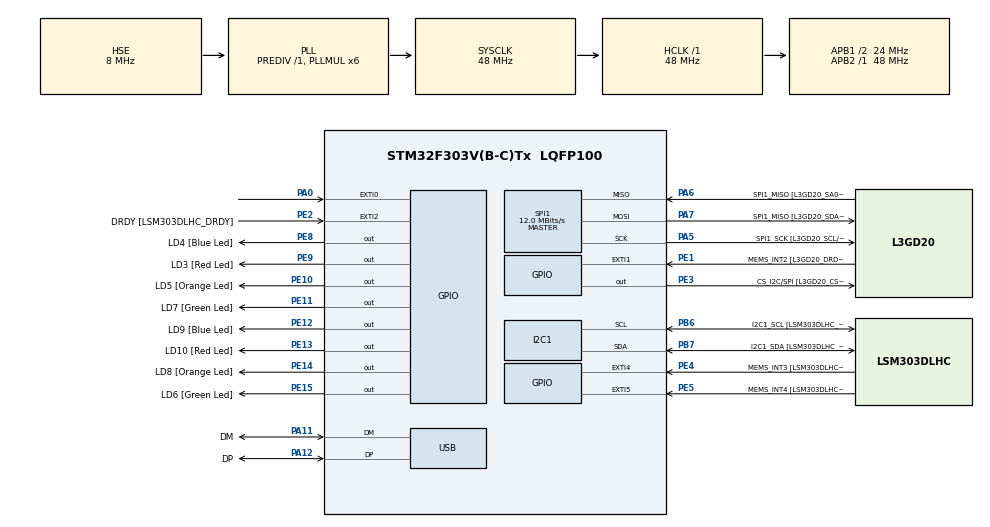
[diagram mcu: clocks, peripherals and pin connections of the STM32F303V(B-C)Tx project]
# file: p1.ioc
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I2C1.Timing=0x2000090E
I2C1.Timing-I2C=0x2000090E
Mcu.Family=STM32F3
Mcu.Name=STM32F303V(B-C)Tx
Mcu.Package=LQFP100
NVIC.EXTI0_IRQn=true\:0\:0\:false\:false\:true\:true\:true
NVIC.PriorityGroup=NVIC_PRIORITYGROUP_0
PA0.GPIO_PuPd=GPIO_PULLDOWN
PA0.Signal=GPXTI0
PA11.GPIO_Label=DM
PA11.Mode=Device
PA11.Signal=USB_DM
PA12.GPIO_Label=DP
PA12.Mode=Device
PA12.Signal=USB_DP
PA13.GPIO_Label=SWDIO
PA13.Mode=Serial_Wire
PA13.Signal=SYS_JTMS-SWDIO
PA14.GPIO_Label=SWCLK
PA14.Mode=Serial_Wire
PA14.Signal=SYS_JTCK-SWCLK
PA5.GPIO_Label=SPI1_SCK [L3GD20_SCL/SPC]
PA5.Mode=Full_Duplex_Master
PA5.Signal=SPI1_SCK
PA6.GPIO_Label=SPI1_MISO [L3GD20_SA0/SDO]
PA6.Mode=Full_Duplex_Master
PA6.Signal=SPI1_MISO
PA7.GPIO_Label=SPI1_MISO [L3GD20_SDA/SDI/SDO]
PA7.Mode=Full_Duplex_Master
PA7.Signal=SPI1_MOSI
PB3.GPIO_Label=SWO
PB3.Signal=SYS_JTDO-TRACESWO
PB6.GPIO_Label=I2C1_SCL [LSM303DLHC_SCL]
PB6.GPIO_Pu=GPIO_PULLUP
PB6.Mode=I2C
PB6.Signal=I2C1_SCL
PB7.GPIO_Label=I2C1_SDA [LSM303DLHC_SDA]
PB7.GPIO_Pu=GPIO_PULLUP
PB7.Mode=I2C
PB7.Signal=I2C1_SDA
PC14-OSC32_IN.GPIO_Label=OSC32_IN
PC14-OSC32_IN.Signal=RCC_OSC32_IN
PC15-OSC32_OUT.GPIO_Label=OSC32_OUT
PC15-OSC32_OUT.Signal=RCC_OSC32_OUT
PE1.GPIO_Label=MEMS_INT2 [L3GD20_DRDY/INT2]
PE1.GPIO_ModeDefaultEXTI=GPIO_MODE_EVT_RISING
PE1.Signal=GPXTI1
PE10.GPIO_Label=LD5 [Orange Led]
PE10.Signal=GPIO_Output
PE11.GPIO_Label=LD7 [Green Led]
PE11.Signal=GPIO_Output
PE12.GPIO_Label=LD9 [Blue Led]
PE12.Signal=GPIO_Output
PE13.GPIO_Label=LD10 [Red Led]
PE13.Signal=GPIO_Output
PE14.GPIO_Label=LD8 [Orange Led]
PE14.Signal=GPIO_Output
PE15.GPIO_Label=LD6 [Green Led]
PE15.Signal=GPIO_Output
PE2.GPIO_Label=DRDY [LSM303DLHC_DRDY]
PE2.GPIO_ModeDefaultEXTI=GPIO_MODE_EVT_RISING
PE2.Signal=GPXTI2
PE3.GPIO_Label=CS_I2C/SPI [L3GD20_CS_I2C/SPI]
PE3.Signal=GPIO_Output
PE4.GPIO_Label=MEMS_INT3 [LSM303DLHC_INT1]
PE4.GPIO_ModeDefaultEXTI=GPIO_MODE_EVT_RISING
PE4.Signal=GPXTI4
PE5.GPIO_Label=MEMS_INT4 [LSM303DLHC_INT2]
PE5.GPIO_ModeDefaultEXTI=GPIO_MODE_EVT_RISING
PE5.Signal=GPXTI5
PE8.GPIO_Label=LD4 [Blue Led]
PE8.Signal=GPIO_Output
PE9.GPIO_Label=LD3 [Red Led]
PE9.Signal=GPIO_Output
PF0-OSC_IN.GPIO_Label=OSC_IN
PF0-OSC_IN.Mode=HSE-External-Clock-Source
PF0-OSC_IN.Signal=RCC_OSC_IN
PF1-OSC_OUT.GPIO_Label=OSC_OUT
PF1-OSC_OUT.Signal=RCC_OSC_OUT
ProjectManager.HeapSize=0x200
ProjectManager.StackSize=0x400
ProjectManager.TargetToolchain=STM32CubeIDE
RCC.AHBFreq_Value=48000000
RCC.APB1CLKDivider=RCC_HCLK_DIV2
RCC.APB1Freq_Value=24000000
RCC.APB1TimFreq_Value=48000000
RCC.APB2Freq_Value=48000000
RCC.APB2TimFreq_Value=48000000
RCC.CortexFreq_Value=48000000
RCC.HCLKFreq_Value=48000000
RCC.HSE_VALUE=8000000
RCC.HSI_VALUE=8000000
RCC.LSE_VALUE=32768
RCC.PLLMUL=RCC_PLL_MUL6
RCC.SYSCLKFreq_VALUE=48000000
RCC.SYSCLKSourceVirtual=RCC_SYSCLKSOURCE_PLLCLK
RCC.USBFreq_Value=48000000
SPI1.BaudRatePrescaler=SPI_BAUDRATEPRESCALER_4
SPI1.BaudRatePrescaler-Full_Duplex_Master=SPI_BAUDRATEPRESCALER_2
SPI1.CalculateBaudRate=12.0 MBits/s
SPI1.CalculateBaudRate-Full_Duplex_Master=24.0 MBits/s
SPI1.Direction=SPI_DIRECTION_2LINES
SPI1.Mode=SPI_MODE_MASTER
SPI1.Mode-Full_Duplex_Master=SPI_MODE_MASTER
SPI1.VirtualType=VM_MASTER
board=STM32F3DISCOVERY

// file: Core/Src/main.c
/* USER CODE BEGIN Header */
/**
  ******************************************************************************
  * @file           : main.c
  * @brief          : Main program body
  ******************************************************************************
  * @attention
  *
  * <h2><center>&copy; Copyright (c) 2022 STMicroelectronics.
  * All rights reserved.</center></h2>
  *
  * This software component is licensed by ST under BSD 3-Clause license,
  * the "License"; You may not use this file except in compliance with the
  * License. You may obtain a copy of the License at:
  *                        opensource.org/licenses/BSD-3-Clause
  *
  ******************************************************************************
  */
/* USER CODE END Header */
#include "main.h"

I2C_HandleTypeDef hi2c1;

SPI_HandleTypeDef hspi1;

PCD_HandleTypeDef hpcd_USB_FS;

void SystemClock_Config(void);
static void MX_GPIO_Init(void);
static void MX_I2C1_Init(void);
static void MX_SPI1_Init(void);
static void MX_USB_PCD_Init(void);

/* USER CODE BEGIN 0 */

void initForBlueButton() {

	__HAL_RCC_GPIOA_CLK_ENABLE();
	GPIO_InitTypeDef temp1;
	temp1.Pin = GPIO_PIN_0;
	temp1.Mode = GPIO_MODE_INPUT;
	temp1.Speed = GPIO_SPEED_FREQ_HIGH;
	temp1.Pull = GPIO_PULLDOWN;
	HAL_GPIO_Init(GPIOA, &temp1);
}

void initForSevenSeg() {

	__HAL_RCC_GPIOC_CLK_ENABLE();
	GPIO_InitTypeDef temp;
	temp.Pin = GPIO_PIN_0 | GPIO_PIN_1 | GPIO_PIN_2 | GPIO_PIN_3 | GPIO_PIN_4 | GPIO_PIN_5 | GPIO_PIN_6 | GPIO_PIN_7 | GPIO_PIN_8 ;
	temp.Mode = GPIO_MODE_OUTPUT_PP;
	temp.Speed = GPIO_SPEED_FREQ_HIGH;
	HAL_GPIO_Init(GPIOC, &temp);
}

void numberToBCD0(int number)
{
	int x1 = number&1;
	int x2 = number&2;
	int x3 = number&4;
	int x4 = number&8;

	if (x1 > 0) x1 = 1;
	if (x2 > 0) x2 = 1;
	if (x3 > 0) x3 = 1;
	if (x4 > 0) x4 = 1;

	HAL_GPIO_WritePin(GPIOC, GPIO_PIN_0, x1);
	HAL_GPIO_WritePin(GPIOC, GPIO_PIN_1, x2);
	HAL_GPIO_WritePin(GPIOC, GPIO_PIN_2, x3);
	HAL_GPIO_WritePin(GPIOC, GPIO_PIN_3, x4);

}

void result0(int num) {

	HAL_GPIO_WritePin(GPIOC, GPIO_PIN_4 | GPIO_PIN_6 | GPIO_PIN_7 | GPIO_PIN_8, 1);
	HAL_GPIO_WritePin(GPIOC, GPIO_PIN_5, 0);
	numberToBCD0( (num / 100) % 10 );
	HAL_Delay(3);

	HAL_GPIO_WritePin(GPIOC, GPIO_PIN_5 | GPIO_PIN_6 | GPIO_PIN_7, 1);
	HAL_GPIO_WritePin(GPIOC, GPIO_PIN_4 | GPIO_PIN_8, 0);
	numberToBCD0( (num / 1000) % 10 );
	HAL_Delay(3);

	HAL_GPIO_WritePin(GPIOC, GPIO_PIN_4 | GPIO_PIN_5 | GPIO_PIN_6, 1);
	HAL_GPIO_WritePin(GPIOC, GPIO_PIN_7 | GPIO_PIN_8, 0);
	numberToBCD0( (num / 1) % 10 );
	HAL_Delay(3);

	HAL_GPIO_WritePin(GPIOC, GPIO_PIN_4 | GPIO_PIN_5 | GPIO_PIN_7, 1);
	HAL_GPIO_WritePin(GPIOC, GPIO_PIN_6 | GPIO_PIN_8, 0);
	numberToBCD0( (num / 10) % 10 );
	HAL_Delay(3);

}

int num = 0;
void sum(){
	num = num - ( ((num/100)%10) + ((num/1000)%10) );

	num = num + 10100 ;

	num = ( ((num/100)%10) + ((num/1000)%10) ) + num;
}

/* USER CODE END 0 */

int main(void)
{

  /* MCU Configuration--------------------------------------------------------*/

  /* Reset of all peripherals, Initializes the Flash interface and the Systick. */
  HAL_Init();

  /* Configure the system clock */
  SystemClock_Config();

  /* Initialize all configured peripherals */
  MX_GPIO_Init();
  MX_I2C1_Init();
  MX_SPI1_Init();
  MX_USB_PCD_Init();
  /* USER CODE BEGIN 2 */

  HAL_Init();
  initForBlueButton();
  initForSevenSeg();

  /* USER CODE END 2 */

  /* Infinite loop */
  while (1)
  {

	result0(num);

  }
}

void SystemClock_Config(void)
{
  RCC_OscInitTypeDef RCC_OscInitStruct = {0};
  RCC_ClkInitTypeDef RCC_ClkInitStruct = {0};
  RCC_PeriphCLKInitTypeDef PeriphClkInit = {0};

  /** Initializes the RCC Oscillators according to the specified parameters
  * in the RCC_OscInitTypeDef structure.
  */
  RCC_OscInitStruct.OscillatorType = RCC_OSCILLATORTYPE_HSI|RCC_OSCILLATORTYPE_HSE;
  RCC_OscInitStruct.HSEState = RCC_HSE_BYPASS;
  RCC_OscInitStruct.HSEPredivValue = RCC_HSE_PREDIV_DIV1;
  RCC_OscInitStruct.HSIState = RCC_HSI_ON;
  RCC_OscInitStruct.HSICalibrationValue = RCC_HSICALIBRATION_DEFAULT;
  RCC_OscInitStruct.PLL.PLLState = RCC_PLL_ON;
  RCC_OscInitStruct.PLL.PLLSource = RCC_PLLSOURCE_HSE;
  RCC_OscInitStruct.PLL.PLLMUL = RCC_PLL_MUL6;
  if (HAL_RCC_OscConfig(&RCC_OscInitStruct) != HAL_OK)
  {
    Error_Handler();
  }
  /** Initializes the CPU, AHB and APB buses clocks
  */
  RCC_ClkInitStruct.ClockType = RCC_CLOCKTYPE_HCLK|RCC_CLOCKTYPE_SYSCLK
                              |RCC_CLOCKTYPE_PCLK1|RCC_CLOCKTYPE_PCLK2;
  RCC_ClkInitStruct.SYSCLKSource = RCC_SYSCLKSOURCE_PLLCLK;
  RCC_ClkInitStruct.AHBCLKDivider = RCC_SYSCLK_DIV1;
  RCC_ClkInitStruct.APB1CLKDivider = RCC_HCLK_DIV2;
  RCC_ClkInitStruct.APB2CLKDivider = RCC_HCLK_DIV1;

  if (HAL_RCC_ClockConfig(&RCC_ClkInitStruct, FLASH_LATENCY_1) != HAL_OK)
  {
    Error_Handler();
  }
  PeriphClkInit.PeriphClockSelection = RCC_PERIPHCLK_USB|RCC_PERIPHCLK_I2C1;
  PeriphClkInit.I2c1ClockSelection = RCC_I2C1CLKSOURCE_HSI;
  PeriphClkInit.USBClockSelection = RCC_USBCLKSOURCE_PLL;
  if (HAL_RCCEx_PeriphCLKConfig(&PeriphClkInit) != HAL_OK)
  {
    Error_Handler();
  }
}

static void MX_I2C1_Init(void)
{

  hi2c1.Instance = I2C1;
  hi2c1.Init.Timing = 0x2000090E;
  hi2c1.Init.OwnAddress1 = 0;
  hi2c1.Init.AddressingMode = I2C_ADDRESSINGMODE_7BIT;
  hi2c1.Init.DualAddressMode = I2C_DUALADDRESS_DISABLE;
  hi2c1.Init.OwnAddress2 = 0;
  hi2c1.Init.OwnAddress2Masks = I2C_OA2_NOMASK;
  hi2c1.Init.GeneralCallMode = I2C_GENERALCALL_DISABLE;
  hi2c1.Init.NoStretchMode = I2C_NOSTRETCH_DISABLE;
  if (HAL_I2C_Init(&hi2c1) != HAL_OK)
  {
    Error_Handler();
  }
  /** Configure Analogue filter
  */
  if (HAL_I2CEx_ConfigAnalogFilter(&hi2c1, I2C_ANALOGFILTER_ENABLE) != HAL_OK)
  {
    Error_Handler();
  }
  /** Configure Digital filter
  */
  if (HAL_I2CEx_ConfigDigitalFilter(&hi2c1, 0) != HAL_OK)
  {
    Error_Handler();
  }

}

static void MX_SPI1_Init(void)
{

  /* SPI1 parameter configuration*/
  hspi1.Instance = SPI1;
  hspi1.Init.Mode = SPI_MODE_MASTER;
  hspi1.Init.Direction = SPI_DIRECTION_2LINES;
  hspi1.Init.DataSize = SPI_DATASIZE_4BIT;
  hspi1.Init.CLKPolarity = SPI_POLARITY_LOW;
  hspi1.Init.CLKPhase = SPI_PHASE_1EDGE;
  hspi1.Init.NSS = SPI_NSS_SOFT;
  hspi1.Init.BaudRatePrescaler = SPI_BAUDRATEPRESCALER_4;
  hspi1.Init.FirstBit = SPI_FIRSTBIT_MSB;
  hspi1.Init.TIMode = SPI_TIMODE_DISABLE;
  hspi1.Init.CRCCalculation = SPI_CRCCALCULATION_DISABLE;
  hspi1.Init.CRCPolynomial = 7;
  hspi1.Init.CRCLength = SPI_CRC_LENGTH_DATASIZE;
  hspi1.Init.NSSPMode = SPI_NSS_PULSE_ENABLE;
  if (HAL_SPI_Init(&hspi1) != HAL_OK)
  {
    Error_Handler();
  }

}

static void MX_USB_PCD_Init(void)
{

  hpcd_USB_FS.Instance = USB;
  hpcd_USB_FS.Init.dev_endpoints = 8;
  hpcd_USB_FS.Init.speed = PCD_SPEED_FULL;
  hpcd_USB_FS.Init.phy_itface = PCD_PHY_EMBEDDED;
  hpcd_USB_FS.Init.low_power_enable = DISABLE;
  hpcd_USB_FS.Init.battery_charging_enable = DISABLE;
  if (HAL_PCD_Init(&hpcd_USB_FS) != HAL_OK)
  {
    Error_Handler();
  }

}

static void MX_GPIO_Init(void)
{
  GPIO_InitTypeDef GPIO_InitStruct = {0};

  /* GPIO Ports Clock Enable */
  __HAL_RCC_GPIOE_CLK_ENABLE();
  __HAL_RCC_GPIOC_CLK_ENABLE();
  __HAL_RCC_GPIOF_CLK_ENABLE();
  __HAL_RCC_GPIOA_CLK_ENABLE();
  __HAL_RCC_GPIOB_CLK_ENABLE();

  /*Configure GPIO pin Output Level */
  HAL_GPIO_WritePin(GPIOE, CS_I2C_SPI_Pin|LD4_Pin|LD3_Pin|LD5_Pin
                          |LD7_Pin|LD9_Pin|LD10_Pin|LD8_Pin
                          |LD6_Pin, GPIO_PIN_RESET);

  /*Configure GPIO pins : DRDY_Pin MEMS_INT3_Pin MEMS_INT4_Pin MEMS_INT2_Pin */
  GPIO_InitStruct.Pin = DRDY_Pin|MEMS_INT3_Pin|MEMS_INT4_Pin|MEMS_INT2_Pin;
  GPIO_InitStruct.Mode = GPIO_MODE_EVT_RISING;
  GPIO_InitStruct.Pull = GPIO_NOPULL;
  HAL_GPIO_Init(GPIOE, &GPIO_InitStruct);

  /*Configure GPIO pins : CS_I2C_SPI_Pin LD4_Pin LD3_Pin LD5_Pin
                           LD7_Pin LD9_Pin LD10_Pin LD8_Pin
                           LD6_Pin */
  GPIO_InitStruct.Pin = CS_I2C_SPI_Pin|LD4_Pin|LD3_Pin|LD5_Pin
                          |LD7_Pin|LD9_Pin|LD10_Pin|LD8_Pin
                          |LD6_Pin;
  GPIO_InitStruct.Mode = GPIO_MODE_OUTPUT_PP;
  GPIO_InitStruct.Pull = GPIO_NOPULL;
  GPIO_InitStruct.Speed = GPIO_SPEED_FREQ_LOW;
  HAL_GPIO_Init(GPIOE, &GPIO_InitStruct);

  /*Configure GPIO pin : PA0 */
  GPIO_InitStruct.Pin = GPIO_PIN_0;
  GPIO_InitStruct.Mode = GPIO_MODE_IT_RISING;
  GPIO_InitStruct.Pull = GPIO_PULLDOWN;
  HAL_GPIO_Init(GPIOA, &GPIO_InitStruct);

  /* EXTI interrupt init*/
  HAL_NVIC_SetPriority(EXTI0_IRQn, 0, 0);
  HAL_NVIC_EnableIRQ(EXTI0_IRQn);

}

void Error_Handler(void)
{
  __disable_irq();
  while (1)
  {
  }
}

/************************ (C) COPYRIGHT STMicroelectronics *****END OF FILE****/
